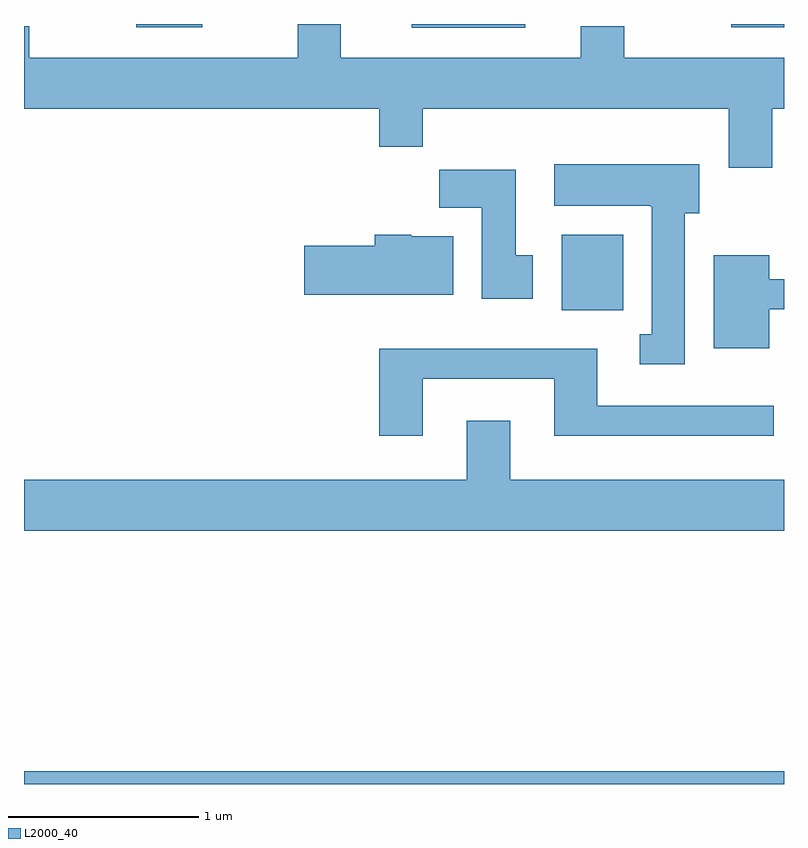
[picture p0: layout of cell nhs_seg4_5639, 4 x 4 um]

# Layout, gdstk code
import gdstk
lib = gdstk.Library(unit=1e-6, precision=1e-09)
def R(c, l, rs):  # rectangles x0, y0, x1, y1
    for r in rs: c.add(gdstk.rectangle(r[:2], r[2:], *l))
def P(c, l, *ps):  # polygons
    for p in ps: c.add(gdstk.Polygon(p, *l))
L2000_40 = (2000, 40)

nhs_seg4_5639 = lib.new_cell('nhs_seg4_5639')
R(nhs_seg4_5639, L2000_40, [(349.611,1379.982,353.611,1380.049), (352.441,1382.476,352.764,1382.874), (351.653,1383.961,352.249,1383.982), (350.203,1383.966,350.549,1383.982), (353.333,1383.966,353.611,1383.982)])
P(nhs_seg4_5639, L2000_40, [(353.549,1383.536),(353.611,1383.536),(353.611,1383.804),(352.769,1383.804),(352.769,1383.969),(352.541,1383.969),(352.541,1383.804),(351.279,1383.804),(351.279,1383.982),(351.051,1383.982),(351.051,1383.804),(349.639,1383.804),(349.639,1383.969),(349.611,1383.969),(349.611,1383.536),(351.481,1383.536),(351.481,1383.336),(351.709,1383.336),(351.709,1383.536),(353.321,1383.536),(353.321,1383.226),(353.549,1383.226)],
  [(353.089,1382.986),(353.164,1382.986),(353.164,1383.244),(352.401,1383.244),(352.401,1383.026),(352.91,1383.026),(352.91,1383.02),(352.916,1383.02),(352.916,1382.349),(352.853,1382.349),(352.853,1382.191),(353.089,1382.191)],
  [(352.289,1382.764),(352.199,1382.764),(352.199,1383.214),(351.796,1383.214),(351.796,1383.016),(352.021,1383.016),(352.021,1382.536),(352.289,1382.536)],
  [(351.869,1382.864),(351.65,1382.864),(351.65,1382.874),(351.456,1382.874),(351.456,1382.814),(351.086,1382.814),(351.086,1382.556),(351.869,1382.556)],
  [(353.534,1382.481),(353.611,1382.481),(353.611,1382.639),(353.534,1382.639),(353.534,1382.764),(353.241,1382.764),(353.241,1382.276),(353.534,1382.276)],
  [(351.709,1382.116),(352.401,1382.116),(352.401,1381.816),(353.558,1381.816),(353.558,1381.974),(352.629,1381.974),(352.629,1382.274),(351.481,1382.274),(351.481,1381.816),(351.709,1381.816)],
  [(353.611,1381.584),(352.169,1381.584),(352.169,1381.894),(351.941,1381.894),(351.941,1381.584),(349.611,1381.584),(349.611,1381.316),(353.611,1381.316)])

lib.write_gds('nhs_seg4_5639.gds')
